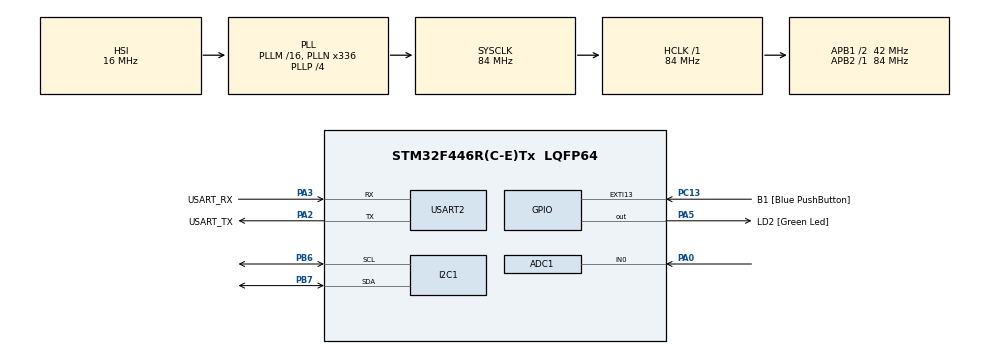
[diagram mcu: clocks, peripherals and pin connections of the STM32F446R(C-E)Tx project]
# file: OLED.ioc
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ADC1.Channel-0\#ChannelRegularConversion=ADC_CHANNEL_0
ADC1.NbrOfConversionFlag=1
ADC1.Rank-0\#ChannelRegularConversion=1
ADC1.SamplingTime-0\#ChannelRegularConversion=ADC_SAMPLETIME_3CYCLES
ADC1.master=1
FREERTOS.Tasks01=defaultTask,24,128,StartDefaultTask,Default,NULL,Dynamic,NULL,NULL;Task01,24,128,StartTask01,Default,NULL,Dynamic,NULL,NULL;Task02,24,128,StartTask02,Default,NULL,Dynamic,NULL,NULL
I2C1.I2C_Mode=I2C_Fast
Mcu.Family=STM32F4
Mcu.Name=STM32F446R(C-E)Tx
Mcu.Package=LQFP64
NVIC.PriorityGroup=NVIC_PRIORITYGROUP_4
NVIC.TIM6_DAC_IRQn=true\:15\:0\:false\:false\:true\:false\:false\:true\:true
NVIC.TimeBase=TIM6_DAC_IRQn
NVIC.TimeBaseIP=TIM6
PA0-WKUP.Signal=ADCx_IN0
PA13.GPIO_Label=TMS
PA13.Mode=Serial_Wire
PA13.Signal=SYS_JTMS-SWDIO
PA14.GPIO_Label=TCK
PA14.Mode=Serial_Wire
PA14.Signal=SYS_JTCK-SWCLK
PA2.GPIO_Label=USART_TX
PA2.Mode=Asynchronous
PA2.Signal=USART2_TX
PA3.GPIO_Label=USART_RX
PA3.Mode=Asynchronous
PA3.Signal=USART2_RX
PA5.GPIO_Label=LD2 [Green Led]
PA5.Signal=GPIO_Output
PB3.GPIO_Label=SWO
PB3.Signal=SYS_JTDO-SWO
PB6.Mode=I2C
PB6.Signal=I2C1_SCL
PB7.Mode=I2C
PB7.Signal=I2C1_SDA
PC13.GPIO_Label=B1 [Blue PushButton]
PC13.GPIO_ModeDefaultEXTI=GPIO_MODE_IT_FALLING
PC13.Signal=GPXTI13
PC14-OSC32_IN.Mode=LSE-External-Oscillator
PC14-OSC32_IN.Signal=RCC_OSC32_IN
PC15-OSC32_OUT.Mode=LSE-External-Oscillator
PC15-OSC32_OUT.Signal=RCC_OSC32_OUT
PH0-OSC_IN.Mode=HSE-External-Oscillator
PH0-OSC_IN.Signal=RCC_OSC_IN
PH1-OSC_OUT.Mode=HSE-External-Oscillator
PH1-OSC_OUT.Signal=RCC_OSC_OUT
ProjectManager.HeapSize=0x200
ProjectManager.StackSize=0x400
ProjectManager.TargetToolchain=STM32CubeIDE
RCC.48MHZClocksFreq_Value=84000000
RCC.AHBFreq_Value=84000000
RCC.APB1CLKDivider=RCC_HCLK_DIV2
RCC.APB1Freq_Value=42000000
RCC.APB1TimFreq_Value=84000000
RCC.APB2Freq_Value=84000000
RCC.APB2TimFreq_Value=84000000
RCC.CortexFreq_Value=84000000
RCC.FLatency-AdvancedSettings=FLASH_LATENCY_2
RCC.HCLKFreq_Value=84000000
RCC.HSE_VALUE=8000000
RCC.HSI_VALUE=16000000
RCC.PLLN=336
RCC.PLLP=RCC_PLLP_DIV4
RCC.SYSCLKFreq_VALUE=84000000
RCC.SYSCLKSource=RCC_SYSCLKSOURCE_PLLCLK
RCC.USBFreq_Value=168000000
RCC.VCOOutputFreq_Value=336000000
SH.ADCx_IN0.0=ADC1_IN0,IN0
USART2.VirtualMode=VM_ASYNC
VP_FREERTOS_VS_CMSIS_V2.Mode=CMSIS_V2
VP_SYS_VS_tim6.Mode=TIM6
board=NUCLEO-F446RE

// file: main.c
/* USER CODE BEGIN Header */
/**
  ******************************************************************************
  * @file           : main.c
  * @brief          : Main program body
  ******************************************************************************
  * @attention
  *
  * Copyright (c) 2024 STMicroelectronics.
  * All rights reserved.
  *
  * This software is licensed under terms that can be found in the LICENSE file
  * in the root directory of this software component.
  * If no LICENSE file comes with this software, it is provided AS-IS.
  *
  ******************************************************************************
  */
/* USER CODE END Header */
#include "main.h"
#include "cmsis_os.h"

/* USER CODE BEGIN Includes */
#include "task.h"
#include "stdio.h"
#include "string.h"
#include "fonts.h"
#include "ssd1306.h"
#include "semphr.h"

/* USER CODE END Includes */

ADC_HandleTypeDef hadc1;

I2C_HandleTypeDef hi2c1;

UART_HandleTypeDef huart2;

/* Definitions for adcTask */
osThreadId_t adcTaskHandle;
const osThreadAttr_t adcTask_attributes = {
  .name = "adcTask",
  .stack_size = 128 * 4,
  .priority = (osPriority_t) osPriorityNormal,
};
/* Definitions for oledTask */
osThreadId_t oledTaskHandle;
const osThreadAttr_t oledTask_attributes = {
  .name = "oledTask",
  .stack_size = 128 * 4,
  .priority = (osPriority_t) osPriorityNormal,
};

//Declare semaphore variables
SemaphoreHandle_t xBinarySemaphore1;
SemaphoreHandle_t xBinarySemaphore2;

void SystemClock_Config(void);
static void MX_GPIO_Init(void);
static void MX_USART2_UART_Init(void);
static void MX_ADC1_Init(void);
static void MX_I2C1_Init(void);
void StartTask01(void *argument);
void StartTask02(void *argument);

/* USER CODE BEGIN 0 */
uint32_t sensorValue = 0;
float fvoltage = 0;
char msg[100];

int uart2_write(int ch)
{
	/*Make sure the transmit data register is empty*/
	while(!(USART2->SR & USART_SR_TXE)){}

	 /*Write to transmit data register*/
	USART2->DR	=  (ch & 0xFF);
	return ch;
}

int __io_putchar(int ch)
{
	uart2_write(ch);
	return ch;
}

/* USER CODE END 0 */

int main(void)
{

  /* MCU Configuration--------------------------------------------------------*/

  /* Reset of all peripherals, Initializes the Flash interface and the Systick. */
  HAL_Init();

  /* Configure the system clock */
  SystemClock_Config();

  /* Initialize all configured peripherals */
  MX_GPIO_Init();
  MX_USART2_UART_Init();
  MX_ADC1_Init();
  MX_I2C1_Init();
  /* USER CODE BEGIN 2 */

  HAL_ADC_Start(&hadc1);

  SSD1306_Init();

  /* USER CODE END 2 */

  //Enter binary semapohores
  xBinarySemaphore1= xSemaphoreCreateBinary();
  xBinarySemaphore2 = xSemaphoreCreateBinary();

  xSemaphoreGive(xBinarySemaphore1);
//  xSemaphoreGive(xBinarySemaphore2);

  /* Init scheduler */
  osKernelInitialize();

  /* Create the semaphores(s) */

  /* Create the thread(s) */
  /* creation of adcTask */
  TaskHandle_t xHandle = NULL;
  TaskHandle_t xHandle2 = NULL;

  adcTaskHandle = xTaskCreate(StartTask01, "adcTask", 128 * 4, (void *) 1, 2, &xHandle);

  /* creation of oledTask */

  oledTaskHandle = xTaskCreate(StartTask02, "oledtask", 128 * 4, (void *)1, 2, &xHandle2);

  /* Start scheduler */
  osKernelStart();

  /* We should never get here as control is now taken by the scheduler */
  /* Infinite loop */
  while (1)
  {

  }
}

void SystemClock_Config(void)
{
  RCC_OscInitTypeDef RCC_OscInitStruct = {0};
  RCC_ClkInitTypeDef RCC_ClkInitStruct = {0};

  /** Configure the main internal regulator output voltage
  */
  __HAL_RCC_PWR_CLK_ENABLE();
  __HAL_PWR_VOLTAGESCALING_CONFIG(PWR_REGULATOR_VOLTAGE_SCALE3);

  /** Initializes the RCC Oscillators according to the specified parameters
  * in the RCC_OscInitTypeDef structure.
  */
  RCC_OscInitStruct.OscillatorType = RCC_OSCILLATORTYPE_HSI;
  RCC_OscInitStruct.HSIState = RCC_HSI_ON;
  RCC_OscInitStruct.HSICalibrationValue = RCC_HSICALIBRATION_DEFAULT;
  RCC_OscInitStruct.PLL.PLLState = RCC_PLL_ON;
  RCC_OscInitStruct.PLL.PLLSource = RCC_PLLSOURCE_HSI;
  RCC_OscInitStruct.PLL.PLLM = 16;
  RCC_OscInitStruct.PLL.PLLN = 336;
  RCC_OscInitStruct.PLL.PLLP = RCC_PLLP_DIV4;
  RCC_OscInitStruct.PLL.PLLQ = 2;
  RCC_OscInitStruct.PLL.PLLR = 2;
  if (HAL_RCC_OscConfig(&RCC_OscInitStruct) != HAL_OK)
  {
    Error_Handler();
  }

  /** Initializes the CPU, AHB and APB buses clocks
  */
  RCC_ClkInitStruct.ClockType = RCC_CLOCKTYPE_HCLK|RCC_CLOCKTYPE_SYSCLK
                              |RCC_CLOCKTYPE_PCLK1|RCC_CLOCKTYPE_PCLK2;
  RCC_ClkInitStruct.SYSCLKSource = RCC_SYSCLKSOURCE_PLLCLK;
  RCC_ClkInitStruct.AHBCLKDivider = RCC_SYSCLK_DIV1;
  RCC_ClkInitStruct.APB1CLKDivider = RCC_HCLK_DIV2;
  RCC_ClkInitStruct.APB2CLKDivider = RCC_HCLK_DIV1;

  if (HAL_RCC_ClockConfig(&RCC_ClkInitStruct, FLASH_LATENCY_2) != HAL_OK)
  {
    Error_Handler();
  }
}

static void MX_ADC1_Init(void)
{

  ADC_ChannelConfTypeDef sConfig = {0};

  /** Configure the global features of the ADC (Clock, Resolution, Data Alignment and number of conversion)
  */
  hadc1.Instance = ADC1;
  hadc1.Init.ClockPrescaler = ADC_CLOCK_SYNC_PCLK_DIV4;
  hadc1.Init.Resolution = ADC_RESOLUTION_12B;
  hadc1.Init.ScanConvMode = DISABLE;
  hadc1.Init.ContinuousConvMode = DISABLE;
  hadc1.Init.DiscontinuousConvMode = DISABLE;
  hadc1.Init.ExternalTrigConvEdge = ADC_EXTERNALTRIGCONVEDGE_NONE;
  hadc1.Init.ExternalTrigConv = ADC_SOFTWARE_START;
  hadc1.Init.DataAlign = ADC_DATAALIGN_RIGHT;
  hadc1.Init.NbrOfConversion = 1;
  hadc1.Init.DMAContinuousRequests = DISABLE;
  hadc1.Init.EOCSelection = ADC_EOC_SINGLE_CONV;
  if (HAL_ADC_Init(&hadc1) != HAL_OK)
  {
    Error_Handler();
  }

  /** Configure for the selected ADC regular channel its corresponding rank in the sequencer and its sample time.
  */
  sConfig.Channel = ADC_CHANNEL_0;
  sConfig.Rank = 1;
  sConfig.SamplingTime = ADC_SAMPLETIME_3CYCLES;
  if (HAL_ADC_ConfigChannel(&hadc1, &sConfig) != HAL_OK)
  {
    Error_Handler();
  }

}

static void MX_I2C1_Init(void)
{

  hi2c1.Instance = I2C1;
  hi2c1.Init.ClockSpeed = 400000;
  hi2c1.Init.DutyCycle = I2C_DUTYCYCLE_2;
  hi2c1.Init.OwnAddress1 = 0;
  hi2c1.Init.AddressingMode = I2C_ADDRESSINGMODE_7BIT;
  hi2c1.Init.DualAddressMode = I2C_DUALADDRESS_DISABLE;
  hi2c1.Init.OwnAddress2 = 0;
  hi2c1.Init.GeneralCallMode = I2C_GENERALCALL_DISABLE;
  hi2c1.Init.NoStretchMode = I2C_NOSTRETCH_DISABLE;
  if (HAL_I2C_Init(&hi2c1) != HAL_OK)
  {
    Error_Handler();
  }

}

static void MX_USART2_UART_Init(void)
{

  huart2.Instance = USART2;
  huart2.Init.BaudRate = 115200;
  huart2.Init.WordLength = UART_WORDLENGTH_8B;
  huart2.Init.StopBits = UART_STOPBITS_1;
  huart2.Init.Parity = UART_PARITY_NONE;
  huart2.Init.Mode = UART_MODE_TX_RX;
  huart2.Init.HwFlowCtl = UART_HWCONTROL_NONE;
  huart2.Init.OverSampling = UART_OVERSAMPLING_16;
  if (HAL_UART_Init(&huart2) != HAL_OK)
  {
    Error_Handler();
  }

}

static void MX_GPIO_Init(void)
{
  GPIO_InitTypeDef GPIO_InitStruct = {0};

  /* GPIO Ports Clock Enable */
  __HAL_RCC_GPIOC_CLK_ENABLE();
  __HAL_RCC_GPIOH_CLK_ENABLE();
  __HAL_RCC_GPIOA_CLK_ENABLE();
  __HAL_RCC_GPIOB_CLK_ENABLE();

  /*Configure GPIO pin Output Level */
  HAL_GPIO_WritePin(LD2_GPIO_Port, LD2_Pin, GPIO_PIN_RESET);

  /*Configure GPIO pin : B1_Pin */
  GPIO_InitStruct.Pin = B1_Pin;
  GPIO_InitStruct.Mode = GPIO_MODE_IT_FALLING;
  GPIO_InitStruct.Pull = GPIO_NOPULL;
  HAL_GPIO_Init(B1_GPIO_Port, &GPIO_InitStruct);

  /*Configure GPIO pin : LD2_Pin */
  GPIO_InitStruct.Pin = LD2_Pin;
  GPIO_InitStruct.Mode = GPIO_MODE_OUTPUT_PP;
  GPIO_InitStruct.Pull = GPIO_NOPULL;
  GPIO_InitStruct.Speed = GPIO_SPEED_FREQ_LOW;
  HAL_GPIO_Init(LD2_GPIO_Port, &GPIO_InitStruct);

}

/* USER CODE BEGIN StartTask01 */
/**
  * @brief  Function implementing the adcTask thread.
  * @param  argument: Not used
  * @retval None
  */
/* USER CODE END StartTask01 */
void StartTask01(void *argument)
{
  /* USER CODE BEGIN 5 */
  /* Infinite loop */
  for(;;)
  {
	  /*1. Start ADC */
    if( xSemaphoreTake( xBinarySemaphore1, ( TickType_t ) 100 ) == pdTRUE )
    {
      HAL_ADC_Start(&hadc1);

      /* Poll for conversion */
      HAL_ADC_PollForConversion(&hadc1,1);

      /* Get conversion */
      sensorValue = HAL_ADC_GetValue(&hadc1);
      fvoltage = (float)sensorValue * (3.3/4095.0);

      sprintf(msg, "%.1f V\r\n", fvoltage); //One digit after comma

      xSemaphoreGive(xBinarySemaphore2);
    }
  }
  /* USER CODE END 5 */
}

/* USER CODE BEGIN StartTask01 */
/**
* @brief Function implementing the oledTask thread.
* @param argument: Not used
* @retval None
*/
/* USER CODE END StartTask01 */
void StartTask02(void *argument)
{
  /* USER CODE BEGIN StartTask01 */
  /* Infinite loop */
  for(;;)
  {
    // Try to take the semaphore xBinarySemaphore2. Wait for up to 100 ticks.
	 	 if( xSemaphoreTake( xBinarySemaphore2, ( TickType_t ) 100 ) == pdTRUE )
     {
        SSD1306_GotoXY (0, 30);

        HAL_UART_Transmit(&huart2, (uint8_t*)msg, strlen(msg), HAL_MAX_DELAY); // Transmit the 'msg' string via UART

        SSD1306_Puts(msg, &Font_16x26, 1); // Display 'msg' on the OLED with specified font and size

        SSD1306_UpdateScreen(); // Refresh the OLED display to show the new text

        xSemaphoreGive(xBinarySemaphore1);
     }
  }
  /* USER CODE END StartTask01 */
}

void HAL_TIM_PeriodElapsedCallback(TIM_HandleTypeDef *htim)
{
  if (htim->Instance == TIM6) {
    HAL_IncTick();
  }
}

void Error_Handler(void)
{
  __disable_irq();
  while (1)
  {
  }
}
